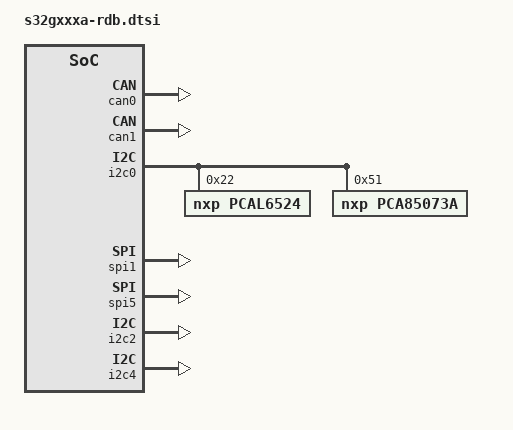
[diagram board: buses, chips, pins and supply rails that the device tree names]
// SPDX-License-Identifier: (GPL-2.0+ OR BSD-3-Clause)
/*
 * Copyright 2024 NXP
 *
 * Authors: Ciprian Marian Costea <ciprianmarian.costea@oss.nxp.com>
 *          Ghennadi Procopciuc <ghennadi.procopciuc@oss.nxp.com>
 *          Larisa Grigore <larisa.grigore@nxp.com>
 */

&pinctrl {
	can0_pins: can0-pins {
		can0-grp0 {
			pinmux = <0x112>;
			output-enable;
			slew-rate = <133>;
		};

		can0-grp1 {
			pinmux = <0x120>;
			input-enable;
			slew-rate = <133>;
		};

		can0-grp2 {
			pinmux = <0x2013>;
		};
	};

	can1_pins: can1-pins {
		can1-grp0 {
			pinmux = <0x132>;
			output-enable;
			slew-rate = <133>;
		};

		can1-grp1 {
			pinmux = <0x140>;
			input-enable;
			slew-rate = <133>;
		};

		can1-grp2 {
			pinmux = <0x2772>;
		};
	};

	i2c0_pins: i2c0-pins {
		i2c0-grp0 {
			pinmux = <0x1f2>, <0x201>;
			drive-open-drain;
			output-enable;
			input-enable;
			slew-rate = <133>;
		};

		i2c0-grp1 {
			pinmux = <0x2353>, <0x2363>;
		};
	};

	i2c0_gpio_pins: i2c0-gpio-pins {
		i2c0-gpio-grp0 {
			pinmux = <0x1f0>, <0x200>;
			drive-open-drain;
			output-enable;
			input-enable;
			slew-rate = <133>;
		};

		i2c0-gpio-grp1 {
			pinmux = <0x2350>, <0x2360>;
		};
	};

	i2c2_pins: i2c2-pins {
		i2c2-grp0 {
			pinmux = <0x151>, <0x161>;
			drive-open-drain;
			output-enable;
			input-enable;
			slew-rate = <133>;
		};

		i2c2-grp1 {
			pinmux = <0x2cf2>, <0x2d02>;
		};
	};

	i2c2_gpio_pins: i2c2-gpio-pins {
		i2c2-gpio-grp0 {
			pinmux = <0x2cf0>, <0x2d00>;
		};

		i2c2-gpio-grp1 {
			pinmux = <0x150>, <0x160>;
			drive-open-drain;
			output-enable;
			input-enable;
			slew-rate = <133>;
		};
	};

	i2c4_pins: i2c4-pins {
		i2c4-grp0 {
			pinmux = <0x211>, <0x222>;
			drive-open-drain;
			output-enable;
			input-enable;
			slew-rate = <133>;
		};

		i2c4-grp1 {
			pinmux = <0x2d43>, <0x2d33>;
		};
	};

	i2c4_gpio_pins: i2c4-gpio-pins {
		i2c4-gpio-grp0 {
			pinmux = <0x210>, <0x220>;
			drive-open-drain;
			output-enable;
			input-enable;
			slew-rate = <133>;
		};

		i2c4-gpio-grp1 {
			pinmux = <0x2d40>, <0x2d30>;
		};
	};

	dspi1_pins: dspi1-pins {
		dspi1-grp0 {
			pinmux = <0x72>;
			output-enable;
			input-enable;
			slew-rate = <150>;
			bias-pull-up;
		};

		dspi1-grp1 {
			pinmux = <0x62>;
			output-enable;
			slew-rate = <150>;
		};

		dspi1-grp2 {
			pinmux = <0x83>;
			output-enable;
			input-enable;
			slew-rate = <150>;
		};

		dspi1-grp3 {
			pinmux = <0x5F0>;
			input-enable;
			slew-rate = <150>;
			bias-pull-up;
		};

		dspi1-grp4 {
			pinmux = <0x3D92>,
				 <0x3DA2>,
				 <0x3DB2>;
		};
	};

	dspi5_pins: dspi5-pins {
		dspi5-grp0 {
			pinmux = <0x93>;
			output-enable;
			input-enable;
			slew-rate = <150>;
		};

		dspi5-grp1 {
			pinmux = <0xA0>;
			input-enable;
			slew-rate = <150>;
			bias-pull-up;
		};

		dspi5-grp2 {
			pinmux = <0x3ED2>,
				 <0x3EE2>,
				 <0x3EF2>;
		};

		dspi5-grp3 {
			pinmux = <0xB3>;
			output-enable;
			slew-rate = <150>;
		};

		dspi5-grp4 {
			pinmux = <0xC3>;
			output-enable;
			input-enable;
			slew-rate = <150>;
			bias-pull-up;
		};
	};
};

&can0 {
	pinctrl-names = "default";
	pinctrl-0 = <&can0_pins>;
	status = "okay";
};

&can1 {
	pinctrl-names = "default";
	pinctrl-0 = <&can1_pins>;
	status = "okay";
};

&i2c0 {
	pinctrl-names = "default", "gpio";
	pinctrl-0 = <&i2c0_pins>;
	pinctrl-1 = <&i2c0_gpio_pins>;
	status = "okay";

	pcal6524: gpio-expander@22 {
		compatible = "nxp,pcal6524";
		reg = <0x22>;
		gpio-controller;
		#gpio-cells = <2>;
	};

	pca85073a: rtc@51 {
		compatible = "nxp,pca85073a";
		reg = <0x51>;
	};
};

&spi1 {
	pinctrl-0 = <&dspi1_pins>;
	pinctrl-names = "default";
	status = "okay";
};

&spi5 {
	pinctrl-0 = <&dspi5_pins>;
	pinctrl-names = "default";
	status = "okay";
};

&i2c2 {
	pinctrl-names = "default", "gpio";
	pinctrl-0 = <&i2c2_pins>;
	pinctrl-1 = <&i2c2_gpio_pins>;
	status = "okay";
};

&i2c4 {
	pinctrl-names = "default", "gpio";
	pinctrl-0 = <&i2c4_pins>;
	pinctrl-1 = <&i2c4_gpio_pins>;
	status = "okay";
};
